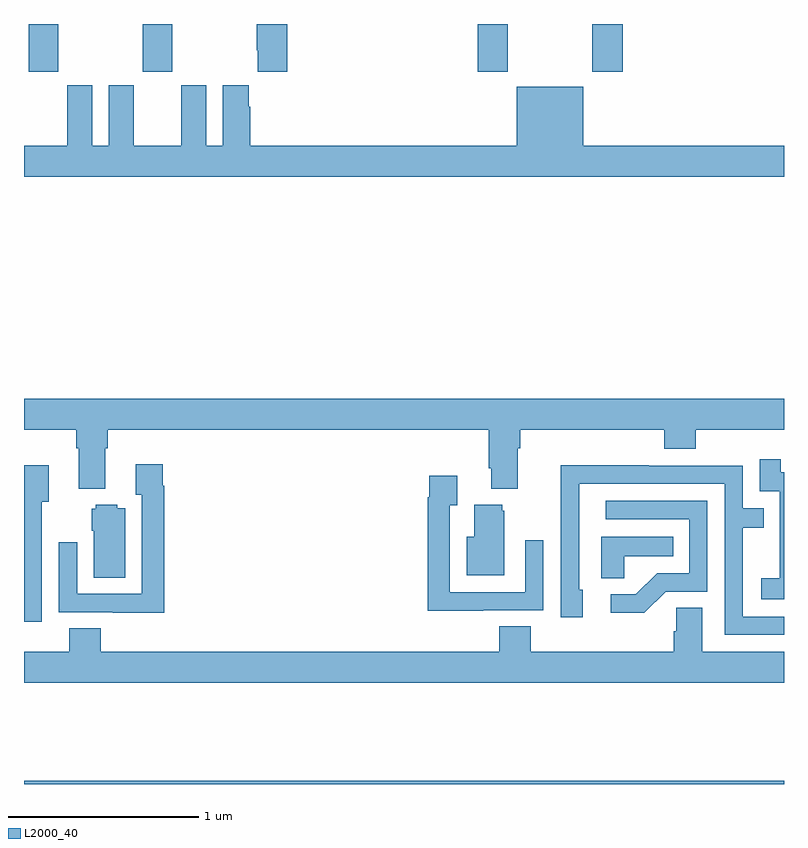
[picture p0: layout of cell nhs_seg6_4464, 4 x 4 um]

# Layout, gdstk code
import gdstk
lib = gdstk.Library(unit=1e-6, precision=1e-09)
def R(c, l, rs):  # rectangles x0, y0, x1, y1
    for r in rs: c.add(gdstk.rectangle(r[:2], r[2:], *l))
def P(c, l, *ps):  # polygons
    for p in ps: c.add(gdstk.Polygon(p, *l))
L2000_40 = (2000, 40)

nhs_seg6_4464 = lib.new_cell('nhs_seg6_4464')
R(nhs_seg6_4464, L2000_40, [(375,917.5,379,917.516), (375.025,921.249,375.18,921.5), (375.625,921.249,375.78,921.5), (377.387,921.249,377.547,921.5), (377.992,921.249,378.152,921.5)])
P(nhs_seg6_4464, L2000_40, [(376.385,921.5),(376.225,921.5),(376.225,921.361),(376.229,921.361),(376.229,921.249),(376.385,921.249)],
  [(379,920.86),(377.944,920.86),(377.944,921.169),(377.594,921.169),(377.594,920.86),(376.19,920.86),(376.19,921.065),(376.183,921.065),(376.183,921.178),(376.046,921.178),(376.046,920.86),(375.958,920.86),(375.958,921.178),(375.827,921.178),(375.827,920.86),(375.577,920.86),(375.577,921.178),(375.446,921.178),(375.446,920.86),(375.358,920.86),(375.358,921.178),(375.227,921.178),(375.227,920.86),(375,920.86),(375,920.696),(379,920.696)],
  [(375.427,919.268),(375.44,919.268),(375.44,919.364),(377.447,919.364),(377.447,919.162),(377.459,919.162),(377.459,919.055),(377.599,919.055),(377.599,919.268),(377.612,919.268),(377.612,919.364),(378.371,919.364),(378.371,919.265),(378.536,919.265),(378.536,919.364),(379,919.364),(379,919.528),(375,919.528),(375,919.364),(375.275,919.364),(375.275,919.268),(375.287,919.268),(375.287,919.055),(375.427,919.055)],
  [(379,919.14),(378.982,919.14),(378.982,919.21),(378.873,919.21),(378.873,919.041),(378.978,919.041),(378.978,918.812),(378.977,918.812),(378.977,918.583),(378.879,918.583),(378.879,918.473),(379,918.473)],
  [(375.737,919.07),(375.73,919.07),(375.73,919.183),(375.587,919.183),(375.587,919.022),(375.621,919.022),(375.621,918.501),(375.279,918.501),(375.279,918.772),(375.183,918.772),(375.183,918.405),(375.467,918.405),(375.467,918.401),(375.737,918.401)],
  [(379,918.381),(378.783,918.381),(378.783,918.85),(378.893,918.85),(378.893,918.951),(378.783,918.951),(378.783,919.176),(378.287,919.176),(378.287,919.178),(377.824,919.178),(377.824,918.871),(377.826,918.871),(377.826,918.378),(377.941,918.378),(377.941,918.522),(377.922,918.522),(377.922,919.08),(378.687,919.08),(378.687,918.285),(379,918.285)],
  [(375.093,918.986),(375.13,918.986),(375.13,919.178),(375,919.178),(375,918.354),(375.093,918.354)],
  [(377.417,918.414),(377.733,918.414),(377.733,918.784),(377.637,918.784),(377.637,918.51),(377.241,918.51),(377.241,918.967),(377.281,918.967),(377.281,919.123),(377.133,919.123),(377.133,919.01),(377.125,919.01),(377.125,918.413),(377.417,918.413)],
  [(378.378,918.513),(378.597,918.513),(378.597,918.99),(378.063,918.99),(378.063,918.894),(378.501,918.894),(378.501,918.609),(378.332,918.609),(378.221,918.498),(378.087,918.498),(378.087,918.401),(378.265,918.401)],
  [(377.527,918.939),(377.516,918.939),(377.516,918.97),(377.369,918.97),(377.369,918.802),(377.33,918.802),(377.33,918.599),(377.527,918.599)],
  [(375.532,918.952),(375.492,918.952),(375.492,918.97),(375.378,918.97),(375.378,918.948),(375.356,918.948),(375.356,918.834),(375.368,918.834),(375.368,918.586),(375.532,918.586)],
  [(378.159,918.698),(378.416,918.698),(378.416,918.802),(378.038,918.802),(378.038,918.583),(378.159,918.583)],
  [(379,918.196),(378.571,918.196),(378.571,918.428),(378.432,918.428),(378.432,918.305),(378.419,918.305),(378.419,918.196),(377.666,918.196),(377.666,918.329),(377.501,918.329),(377.501,918.196),(375.404,918.196),(375.404,918.32),(375.239,918.32),(375.239,918.196),(375,918.196),(375,918.032),(379,918.032)])

lib.write_gds('nhs_seg6_4464.gds')
